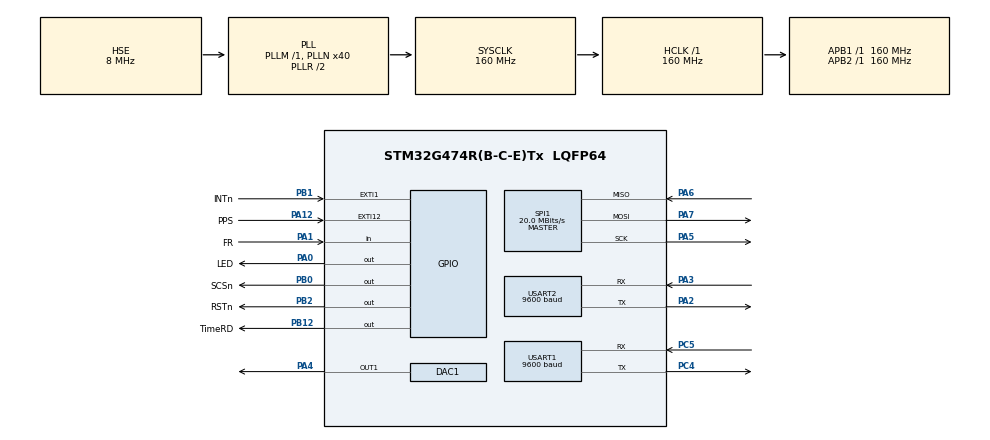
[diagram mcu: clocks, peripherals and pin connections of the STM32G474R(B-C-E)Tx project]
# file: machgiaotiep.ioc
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DAC1.DAC_Trigger_OUT1-DAC_OUT1=DAC_TRIGGER_T2_TRGO
Dma.DAC1_CH1.0.Direction=DMA_MEMORY_TO_PERIPH
Dma.DAC1_CH1.0.EventEnable=DISABLE
Dma.DAC1_CH1.0.Instance=DMA1_Channel1
Dma.DAC1_CH1.0.MemDataAlignment=DMA_MDATAALIGN_WORD
Dma.DAC1_CH1.0.MemInc=DMA_MINC_ENABLE
Dma.DAC1_CH1.0.Mode=DMA_CIRCULAR
Dma.DAC1_CH1.0.PeriphDataAlignment=DMA_PDATAALIGN_WORD
Dma.DAC1_CH1.0.PeriphInc=DMA_PINC_DISABLE
Dma.DAC1_CH1.0.Polarity=HAL_DMAMUX_REQ_GEN_RISING
Dma.DAC1_CH1.0.Priority=DMA_PRIORITY_LOW
Dma.DAC1_CH1.0.RequestNumber=1
Dma.DAC1_CH1.0.SignalID=NONE
Dma.DAC1_CH1.0.SyncEnable=DISABLE
Dma.DAC1_CH1.0.SyncPolarity=HAL_DMAMUX_SYNC_NO_EVENT
Dma.DAC1_CH1.0.SyncRequestNumber=1
Dma.DAC1_CH1.0.SyncSignalID=NONE
Dma.Request0=DAC1_CH1
IWDG.Prescaler=IWDG_PRESCALER_64
Mcu.Family=STM32G4
Mcu.Name=STM32G474R(B-C-E)Tx
Mcu.Package=LQFP64
NVIC.DMA1_Channel1_IRQn=true\:0\:0\:false\:false\:true\:false\:true\:true
NVIC.EXTI15_10_IRQn=true\:0\:0\:false\:false\:true\:true\:true\:true
NVIC.EXTI1_IRQn=true\:0\:0\:false\:false\:true\:true\:true\:true
NVIC.PriorityGroup=NVIC_PRIORITYGROUP_4
NVIC.TIM3_IRQn=true\:0\:0\:false\:false\:true\:true\:true\:true
NVIC.TIM4_IRQn=true\:0\:0\:false\:false\:true\:true\:true\:true
NVIC.USART1_IRQn=true\:0\:0\:false\:false\:true\:true\:true\:true
NVIC.USART2_IRQn=true\:0\:0\:false\:false\:true\:true\:true\:true
PA0.GPIO_Label=LED
PA0.Signal=GPIO_Output
PA1.GPIO_Label=FR
PA1.Signal=GPIO_Input
PA12.GPIO_Label=PPS
PA12.GPIO_ModeDefaultEXTI=GPIO_MODE_IT_FALLING
PA12.GPIO_PuPd=GPIO_PULLUP
PA12.Signal=GPXTI12
PA2.Mode=Asynchronous
PA2.Signal=USART2_TX
PA3.Mode=Asynchronous
PA3.Signal=USART2_RX
PA4.Signal=COMP_DAC11_group
PA5.Mode=Full_Duplex_Master
PA5.Signal=SPI1_SCK
PA6.Mode=Full_Duplex_Master
PA6.Signal=SPI1_MISO
PA7.Mode=Full_Duplex_Master
PA7.Signal=SPI1_MOSI
PB0.GPIO_Label=SCSn
PB0.Signal=GPIO_Output
PB1.GPIO_Label=INTn
PB1.GPIO_ModeDefaultEXTI=GPIO_MODE_IT_FALLING
PB1.GPIO_PuPd=GPIO_PULLUP
PB1.Signal=GPXTI1
PB12.GPIO_Label=TimeRD
PB12.Signal=GPIO_Output
PB2.GPIO_Label=RSTn
PB2.Signal=GPIO_Output
PC4.Mode=Asynchronous
PC4.Signal=USART1_TX
PC5.Mode=Asynchronous
PC5.Signal=USART1_RX
PF0-OSC_IN.Mode=HSE-External-Oscillator
PF0-OSC_IN.Signal=RCC_OSC_IN
PF1-OSC_OUT.Mode=HSE-External-Oscillator
PF1-OSC_OUT.Signal=RCC_OSC_OUT
ProjectManager.HeapSize=0x200
ProjectManager.StackSize=0x400
ProjectManager.TargetToolchain=MDK-ARM V5
RCC.ADC12Freq_Value=160000000
RCC.ADC345Freq_Value=160000000
RCC.AHBFreq_Value=160000000
RCC.APB1Freq_Value=160000000
RCC.APB1TimFreq_Value=160000000
RCC.APB2Freq_Value=160000000
RCC.APB2TimFreq_Value=160000000
RCC.CortexFreq_Value=160000000
RCC.EXTERNAL_CLOCK_VALUE=12288000
RCC.HCLKFreq_Value=160000000
RCC.HSE_VALUE=8000000
RCC.HSI48_VALUE=48000000
RCC.HSI_VALUE=16000000
RCC.LSE_VALUE=32768
RCC.PLLN=40
RCC.PLLSourceVirtual=RCC_PLLSOURCE_HSE
RCC.SYSCLKFreq_VALUE=160000000
RCC.SYSCLKSource=RCC_SYSCLKSOURCE_PLLCLK
RCC.USBFreq_Value=160000000
RCC.VCOOutputFreq_Value=320000000
SH.COMP_DAC11_group.0=DAC1_OUT1,DAC_OUT1
SPI1.BaudRatePrescaler=SPI_BAUDRATEPRESCALER_8
SPI1.CLKPhase=SPI_PHASE_2EDGE
SPI1.CLKPolarity=SPI_POLARITY_HIGH
SPI1.CalculateBaudRate=20.0 MBits/s
SPI1.DataSize=SPI_DATASIZE_8BIT
SPI1.Direction=SPI_DIRECTION_2LINES
SPI1.Mode=SPI_MODE_MASTER
SPI1.VirtualType=VM_MASTER
TIM2.PeriodNoDither=1249
TIM2.TIM_MasterOutputTrigger=TIM_TRGO_UPDATE
TIM3.AutoReloadPreload=TIM_AUTORELOAD_PRELOAD_DISABLE
TIM3.PeriodNoDither=1000-1
TIM3.Prescaler=160-1
TIM4.AutoReloadPreload=TIM_AUTORELOAD_PRELOAD_DISABLE
TIM4.PeriodNoDither=9999
TIM4.Prescaler=16000-1
USART1.BaudRate=9600
USART1.VirtualMode-Asynchronous=VM_ASYNC
USART2.BaudRate=9600
USART2.VirtualMode-Asynchronous=VM_ASYNC
VP_IWDG_VS_IWDG.Mode=IWDG_Activate
VP_SYS_VS_DBSignals.Mode=DisableDeadBatterySignals
VP_TIM2_VS_ClockSourceINT.Mode=Internal
VP_TIM3_VS_ClockSourceINT.Mode=Internal
VP_TIM4_VS_ClockSourceINT.Mode=Internal
board=custom

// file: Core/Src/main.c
/* USER CODE BEGIN Header */
/**
  ******************************************************************************
  * @file           : main.c
  * @brief          : Main program body
  ******************************************************************************
  * @attention
  *
  * Copyright (c) 2022 STMicroelectronics.
  * All rights reserved.
  *
  * This software is licensed under terms that can be found in the LICENSE file
  * in the root directory of this software component.
  * If no LICENSE file comes with this software, it is provided AS-IS.
  *
  ******************************************************************************
  */
/* USER CODE END Header */
#include "main.h"

/* USER CODE BEGIN Includes */
#include <stdint.h>
#include <string.h>
#include <time.h>
#include "stdio.h"

#include "wizchip_conf.h"
//#include "irigb.h"

#include "httpServer.h"
#include "snmp.h"
#include "connector.h"
/* USER CODE END Includes */

/* USER CODE BEGIN PTD */

const time_t built_time = 1669778893;
time_t timenow;
struct tm* timeinfo;
extern uint32_t real_delay;
/* USER CODE END PTD */

/* USER CODE BEGIN PM */
uint8_t IRIGB_GAIN;
uint32_t _Bit0_real[1280];
uint32_t _BitREF_real[1280];
uint32_t _Bit1_real[1280];
extern unsigned char irigb_code[];
extern uint32_t _Bit0[];
extern uint32_t _Bit1[];
extern uint32_t _BitREF[];
extern int8_t codecounter;
/* end of irigb variables -------------------------------------------------------------*/
void irigb_init(void)
{
	//1280
	uint32_t i;
	if(IRIGB_GAIN > 10) IRIGB_GAIN = 10;
	if(IRIGB_GAIN < 1) IRIGB_GAIN = 1;

	for(i =0; i<1280; i++)
	{
		_Bit0_real[i] = (_Bit0[i]*IRIGB_GAIN)/10;
		_Bit1_real[i] = (_Bit1[i]*IRIGB_GAIN)/10;
		_BitREF_real[i] = (_BitREF[i]*IRIGB_GAIN)/10;
	}
}
extern time_t unixTime_last_sync;

uint32_t	_loop1=0;
wiz_NetInfo myipWIZNETINFO = { .mac = {0x00, 0x08, 0xDC,0x55, 0x01, 0x01},
															 .ip = {192, 168,1, 39},
															 .sn = {255,255,255,0},
															 .gw = {0, 0, 0, 0},
															 .dns = {8,8,8,8},
															 .dhcp = NETINFO_STATIC };

uint8_t days = 0;
uint8_t months = 0;
uint8_t years = 0;
uint8_t hours = 0;
uint8_t minutes = 0;
uint8_t seconds = 0;
struct tm currtime;

//UART
/* Buffer used for reception */
uint8_t aRxBuffer[RXBUFFERSIZE];
uint8_t Rx1Buffer[RX1BUFFERSIZE];
//volatile uint32_t snmp_tick_1ms = 0;
/* USER CODE END PM */

DAC_HandleTypeDef hdac1;
DMA_HandleTypeDef hdma_dac1_ch1;

IWDG_HandleTypeDef hiwdg;

SPI_HandleTypeDef hspi1;

TIM_HandleTypeDef htim2;
TIM_HandleTypeDef htim3;
TIM_HandleTypeDef htim4;

UART_HandleTypeDef huart1;
UART_HandleTypeDef huart2;

void SystemClock_Config(void);
static void MX_GPIO_Init(void);
static void MX_DMA_Init(void);
static void MX_DAC1_Init(void);
static void MX_SPI1_Init(void);
static void MX_TIM2_Init(void);
static void MX_TIM3_Init(void);
static void MX_TIM4_Init(void);
static void MX_USART1_UART_Init(void);
static void MX_USART2_UART_Init(void);
static void MX_IWDG_Init(void);

/* USER CODE BEGIN 0 */

//void w5500_lib_init(void);
//void ntpserverdefaultconfig(void);
//void INT_NTP(void);
//int32_t NTPUDP(void);

//void main_message_handle(void);
//void u1_message_handle(void);
//void build_irigB_code(void);

/* USER CODE END 0 */

int main(void)
{
  /* USER CODE BEGIN 1 */
  int32_t ret = 0;

	char msg[100];
  /* USER CODE END 1 */

  /* MCU Configuration--------------------------------------------------------*/

  /* Reset of all peripherals, Initializes the Flash interface and the Systick. */
  HAL_Init();

  /* Configure the system clock */
  SystemClock_Config();

  /* Initialize all configured peripherals */
  MX_GPIO_Init();
  MX_DMA_Init();
  MX_DAC1_Init();
  MX_SPI1_Init();
  MX_TIM2_Init();
  MX_TIM3_Init();
  MX_TIM4_Init();
  MX_USART1_UART_Init();
  MX_USART2_UART_Init();
  MX_IWDG_Init();
  /* USER CODE BEGIN 2 */
  //printf("This code gen by STMcube; STM32G474RBT6@160MHz\r\n");
	timenow = built_time ;
	stm32g474_FactoryLoad();

	irigb_init();

//	HAL_GPIO_WritePin(TimeRD_GPIO_Port, TimeRD_Pin, GPIO_PIN_SET);
//	HAL_UART_Transmit(&huart1, (uint8_t *)"UART1 TX ok\r\n", 13, 100);
//	sprintf(msg,"IP %d.%d.%d.%d\r\n",myipWIZNETINFO.ip[0],myipWIZNETINFO.ip[1],myipWIZNETINFO.ip[2],myipWIZNETINFO.ip[3]);
//	HAL_UART_Transmit(&huart1, (uint8_t *)msg, 20, 100);
//	HAL_GPIO_WritePin(TimeRD_GPIO_Port, TimeRD_Pin, GPIO_PIN_RESET);

	HAL_TIM_Base_Start_IT(&htim3);
	HAL_TIM_Base_Start_IT(&htim4);
  /* USER CODE END 2 */

  /* Infinite loop */
  /* USER CODE BEGIN WHILE */

	//printf("Run\r\n");
	unixTime_last_sync = timenow;
	timeinfo = localtime( &timenow );
	//printf("Current local time and date: %s\r\n", asctime(timeinfo));

	//printf("HH-MM-SS :%d-%d-%d\r\n",timeinfo->tm_hour,timeinfo->tm_min,timeinfo->tm_sec);
	//printf("DD-MM-YY :%d-%d-%d\r\n",timeinfo->tm_mday,1+timeinfo->tm_mon,timeinfo->tm_year-100);
	resetirigbcode();
	codecounter = 0;
	days 		= timeinfo->tm_mday;
  months 	= timeinfo->tm_mon +1;
  years 	= timeinfo->tm_year-100;
  hours 	= timeinfo->tm_hour;
  minutes = timeinfo->tm_min;
  seconds = timeinfo->tm_sec;

  build_irigB_code();

	w5500_lib_init();
	ntpserverdefaultconfig();
	/* SNMP(Simple Network Management Protocol) Agent Initialize */
	// NMS (SNMP manager) IP address
	//snmpd_init(SNMPmanagerIP,SNMPagentIP,SOCK_agent,SOCK_trap);
	snmp_init();
	loadwebpages();

	HAL_UART_Abort(&huart2);
  if (HAL_UART_Receive_IT(&huart2, (uint8_t *)aRxBuffer, RXBUFFERSIZE) != HAL_OK)
  {
    /* Transfer error in reception process */
    Error_Handler();
  }
//	HAL_UART_Abort(&huart1);
//  if (HAL_UART_Receive_IT(&huart1, (uint8_t *)Rx1Buffer, RX1BUFFERSIZE) != HAL_OK)
//  {
//    /* Transfer error in reception process */
//    Error_Handler();
//  }
	//irigB start
	HAL_DAC_Start(&hdac1, DAC_CHANNEL_1);
	HAL_DAC_Start_DMA(&hdac1, DAC_CHANNEL_1, (uint32_t*)_Bit0, 1280, DAC_ALIGN_12B_R);
	HAL_TIM_Base_Start(&htim2);

  while (1)
  {

    /* USER CODE END WHILE */

    /* USER CODE BEGIN 3 */
		HAL_IWDG_Refresh(&hiwdg);
		machGiaoTiep();

  }
  /* USER CODE END 3 */
}

void SystemClock_Config(void)
{
  RCC_OscInitTypeDef RCC_OscInitStruct = {0};
  RCC_ClkInitTypeDef RCC_ClkInitStruct = {0};

  /** Configure the main internal regulator output voltage
  */
  HAL_PWREx_ControlVoltageScaling(PWR_REGULATOR_VOLTAGE_SCALE1_BOOST);

  /** Initializes the RCC Oscillators according to the specified parameters
  * in the RCC_OscInitTypeDef structure.
  */
  RCC_OscInitStruct.OscillatorType = RCC_OSCILLATORTYPE_LSI|RCC_OSCILLATORTYPE_HSE;
  RCC_OscInitStruct.HSEState = RCC_HSE_ON;
  RCC_OscInitStruct.LSIState = RCC_LSI_ON;
  RCC_OscInitStruct.PLL.PLLState = RCC_PLL_ON;
  RCC_OscInitStruct.PLL.PLLSource = RCC_PLLSOURCE_HSE;
  RCC_OscInitStruct.PLL.PLLM = RCC_PLLM_DIV1;
  RCC_OscInitStruct.PLL.PLLN = 40;
  RCC_OscInitStruct.PLL.PLLP = RCC_PLLP_DIV2;
  RCC_OscInitStruct.PLL.PLLQ = RCC_PLLQ_DIV2;
  RCC_OscInitStruct.PLL.PLLR = RCC_PLLR_DIV2;
  if (HAL_RCC_OscConfig(&RCC_OscInitStruct) != HAL_OK)
  {
    Error_Handler();
  }

  /** Initializes the CPU, AHB and APB buses clocks
  */
  RCC_ClkInitStruct.ClockType = RCC_CLOCKTYPE_HCLK|RCC_CLOCKTYPE_SYSCLK
                              |RCC_CLOCKTYPE_PCLK1|RCC_CLOCKTYPE_PCLK2;
  RCC_ClkInitStruct.SYSCLKSource = RCC_SYSCLKSOURCE_PLLCLK;
  RCC_ClkInitStruct.AHBCLKDivider = RCC_SYSCLK_DIV1;
  RCC_ClkInitStruct.APB1CLKDivider = RCC_HCLK_DIV1;
  RCC_ClkInitStruct.APB2CLKDivider = RCC_HCLK_DIV1;

  if (HAL_RCC_ClockConfig(&RCC_ClkInitStruct, FLASH_LATENCY_4) != HAL_OK)
  {
    Error_Handler();
  }
}

static void MX_DAC1_Init(void)
{

  DAC_ChannelConfTypeDef sConfig = {0};

  /** DAC Initialization
  */
  hdac1.Instance = DAC1;
  if (HAL_DAC_Init(&hdac1) != HAL_OK)
  {
    Error_Handler();
  }

  /** DAC channel OUT1 config
  */
  sConfig.DAC_HighFrequency = DAC_HIGH_FREQUENCY_INTERFACE_MODE_AUTOMATIC;
  sConfig.DAC_DMADoubleDataMode = DISABLE;
  sConfig.DAC_SignedFormat = DISABLE;
  sConfig.DAC_SampleAndHold = DAC_SAMPLEANDHOLD_DISABLE;
  sConfig.DAC_Trigger = DAC_TRIGGER_T2_TRGO;
  sConfig.DAC_Trigger2 = DAC_TRIGGER_NONE;
  sConfig.DAC_OutputBuffer = DAC_OUTPUTBUFFER_ENABLE;
  sConfig.DAC_ConnectOnChipPeripheral = DAC_CHIPCONNECT_EXTERNAL;
  sConfig.DAC_UserTrimming = DAC_TRIMMING_FACTORY;
  if (HAL_DAC_ConfigChannel(&hdac1, &sConfig, DAC_CHANNEL_1) != HAL_OK)
  {
    Error_Handler();
  }

}

static void MX_IWDG_Init(void)
{

  hiwdg.Instance = IWDG;
  hiwdg.Init.Prescaler = IWDG_PRESCALER_64;
  hiwdg.Init.Window = 4095;
  hiwdg.Init.Reload = 4095;
  if (HAL_IWDG_Init(&hiwdg) != HAL_OK)
  {
    Error_Handler();
  }

}

static void MX_SPI1_Init(void)
{

  /* SPI1 parameter configuration*/
  hspi1.Instance = SPI1;
  hspi1.Init.Mode = SPI_MODE_MASTER;
  hspi1.Init.Direction = SPI_DIRECTION_2LINES;
  hspi1.Init.DataSize = SPI_DATASIZE_8BIT;
  hspi1.Init.CLKPolarity = SPI_POLARITY_HIGH;
  hspi1.Init.CLKPhase = SPI_PHASE_2EDGE;
  hspi1.Init.NSS = SPI_NSS_SOFT;
  hspi1.Init.BaudRatePrescaler = SPI_BAUDRATEPRESCALER_8;
  hspi1.Init.FirstBit = SPI_FIRSTBIT_MSB;
  hspi1.Init.TIMode = SPI_TIMODE_DISABLE;
  hspi1.Init.CRCCalculation = SPI_CRCCALCULATION_DISABLE;
  hspi1.Init.CRCPolynomial = 7;
  hspi1.Init.CRCLength = SPI_CRC_LENGTH_DATASIZE;
  hspi1.Init.NSSPMode = SPI_NSS_PULSE_DISABLE;
  if (HAL_SPI_Init(&hspi1) != HAL_OK)
  {
    Error_Handler();
  }

}

static void MX_TIM2_Init(void)
{

  TIM_ClockConfigTypeDef sClockSourceConfig = {0};
  TIM_MasterConfigTypeDef sMasterConfig = {0};

  htim2.Instance = TIM2;
  htim2.Init.Prescaler = 0;
  htim2.Init.CounterMode = TIM_COUNTERMODE_UP;
  htim2.Init.Period = 1249;
  htim2.Init.ClockDivision = TIM_CLOCKDIVISION_DIV1;
  htim2.Init.AutoReloadPreload = TIM_AUTORELOAD_PRELOAD_DISABLE;
  if (HAL_TIM_Base_Init(&htim2) != HAL_OK)
  {
    Error_Handler();
  }
  sClockSourceConfig.ClockSource = TIM_CLOCKSOURCE_INTERNAL;
  if (HAL_TIM_ConfigClockSource(&htim2, &sClockSourceConfig) != HAL_OK)
  {
    Error_Handler();
  }
  sMasterConfig.MasterOutputTrigger = TIM_TRGO_UPDATE;
  sMasterConfig.MasterSlaveMode = TIM_MASTERSLAVEMODE_DISABLE;
  if (HAL_TIMEx_MasterConfigSynchronization(&htim2, &sMasterConfig) != HAL_OK)
  {
    Error_Handler();
  }

}

static void MX_TIM3_Init(void)
{

  TIM_ClockConfigTypeDef sClockSourceConfig = {0};
  TIM_MasterConfigTypeDef sMasterConfig = {0};

  /* USER CODE BEGIN TIM3_Init 1 */
  //1ms counter
  /* USER CODE END TIM3_Init 1 */
  htim3.Instance = TIM3;
  htim3.Init.Prescaler = 160-1;
  htim3.Init.CounterMode = TIM_COUNTERMODE_UP;
  htim3.Init.Period = 999+1;
  htim3.Init.ClockDivision = TIM_CLOCKDIVISION_DIV1;
  htim3.Init.AutoReloadPreload = TIM_AUTORELOAD_PRELOAD_DISABLE;
  if (HAL_TIM_Base_Init(&htim3) != HAL_OK)
  {
    Error_Handler();
  }
  sClockSourceConfig.ClockSource = TIM_CLOCKSOURCE_INTERNAL;
  if (HAL_TIM_ConfigClockSource(&htim3, &sClockSourceConfig) != HAL_OK)
  {
    Error_Handler();
  }
  sMasterConfig.MasterOutputTrigger = TIM_TRGO_RESET;
  sMasterConfig.MasterSlaveMode = TIM_MASTERSLAVEMODE_DISABLE;
  if (HAL_TIMEx_MasterConfigSynchronization(&htim3, &sMasterConfig) != HAL_OK)
  {
    Error_Handler();
  }

}

static void MX_TIM4_Init(void)
{

  TIM_ClockConfigTypeDef sClockSourceConfig = {0};
  TIM_MasterConfigTypeDef sMasterConfig = {0};

  /* USER CODE BEGIN TIM4_Init 1 */
	//	16/Aug/2019, Tuan, use Timer for make a couter 0-0.9999 second for NTP fraction
	//timer uptade frequency = TIM_CLK/(TIM_PSC+1)/(TIM_ARR + 1)
	//TIM_CLK/(TIM_Period + 1) /(Prescaler+1)
  /* USER CODE END TIM4_Init 1 */
  htim4.Instance = TIM4;
  htim4.Init.Prescaler = 16000-1;
  htim4.Init.CounterMode = TIM_COUNTERMODE_UP;
  htim4.Init.Period = 9999+1;
  htim4.Init.ClockDivision = TIM_CLOCKDIVISION_DIV1;
  htim4.Init.AutoReloadPreload = TIM_AUTORELOAD_PRELOAD_DISABLE;
  if (HAL_TIM_Base_Init(&htim4) != HAL_OK)
  {
    Error_Handler();
  }
  sClockSourceConfig.ClockSource = TIM_CLOCKSOURCE_INTERNAL;
  if (HAL_TIM_ConfigClockSource(&htim4, &sClockSourceConfig) != HAL_OK)
  {
    Error_Handler();
  }
  sMasterConfig.MasterOutputTrigger = TIM_TRGO_RESET;
  sMasterConfig.MasterSlaveMode = TIM_MASTERSLAVEMODE_DISABLE;
  if (HAL_TIMEx_MasterConfigSynchronization(&htim4, &sMasterConfig) != HAL_OK)
  {
    Error_Handler();
  }

}

static void MX_USART1_UART_Init(void)
{

  huart1.Instance = USART1;
  huart1.Init.BaudRate = 9600;
  huart1.Init.WordLength = UART_WORDLENGTH_8B;
  huart1.Init.StopBits = UART_STOPBITS_1;
  huart1.Init.Parity = UART_PARITY_NONE;
  huart1.Init.Mode = UART_MODE_TX_RX;
  huart1.Init.HwFlowCtl = UART_HWCONTROL_NONE;
  huart1.Init.OverSampling = UART_OVERSAMPLING_16;
  huart1.Init.OneBitSampling = UART_ONE_BIT_SAMPLE_DISABLE;
  huart1.Init.ClockPrescaler = UART_PRESCALER_DIV1;
  huart1.AdvancedInit.AdvFeatureInit = UART_ADVFEATURE_NO_INIT;
  if (HAL_UART_Init(&huart1) != HAL_OK)
  {
    Error_Handler();
  }
  if (HAL_UARTEx_SetTxFifoThreshold(&huart1, UART_TXFIFO_THRESHOLD_1_8) != HAL_OK)
  {
    Error_Handler();
  }
  if (HAL_UARTEx_SetRxFifoThreshold(&huart1, UART_RXFIFO_THRESHOLD_1_8) != HAL_OK)
  {
    Error_Handler();
  }
  if (HAL_UARTEx_DisableFifoMode(&huart1) != HAL_OK)
  {
    Error_Handler();
  }

}

static void MX_USART2_UART_Init(void)
{

  huart2.Instance = USART2;
  huart2.Init.BaudRate = 115200;
  huart2.Init.WordLength = UART_WORDLENGTH_8B;
  huart2.Init.StopBits = UART_STOPBITS_1;
  huart2.Init.Parity = UART_PARITY_NONE;
  huart2.Init.Mode = UART_MODE_TX_RX;
  huart2.Init.HwFlowCtl = UART_HWCONTROL_NONE;
  huart2.Init.OverSampling = UART_OVERSAMPLING_16;
  huart2.Init.OneBitSampling = UART_ONE_BIT_SAMPLE_DISABLE;
  huart2.Init.ClockPrescaler = UART_PRESCALER_DIV1;
  huart2.AdvancedInit.AdvFeatureInit = UART_ADVFEATURE_NO_INIT;
  if (HAL_UART_Init(&huart2) != HAL_OK)
  {
    Error_Handler();
  }
  if (HAL_UARTEx_SetTxFifoThreshold(&huart2, UART_TXFIFO_THRESHOLD_1_8) != HAL_OK)
  {
    Error_Handler();
  }
  if (HAL_UARTEx_SetRxFifoThreshold(&huart2, UART_RXFIFO_THRESHOLD_1_8) != HAL_OK)
  {
    Error_Handler();
  }
  if (HAL_UARTEx_DisableFifoMode(&huart2) != HAL_OK)
  {
    Error_Handler();
  }

}

static void MX_DMA_Init(void)
{

  /* DMA controller clock enable */
  __HAL_RCC_DMAMUX1_CLK_ENABLE();
  __HAL_RCC_DMA1_CLK_ENABLE();

  /* DMA interrupt init */
  /* DMA1_Channel1_IRQn interrupt configuration */
  HAL_NVIC_SetPriority(DMA1_Channel1_IRQn, 0, 0);
  HAL_NVIC_EnableIRQ(DMA1_Channel1_IRQn);

}

static void MX_GPIO_Init(void)
{
  GPIO_InitTypeDef GPIO_InitStruct = {0};

  /* GPIO Ports Clock Enable */
  __HAL_RCC_GPIOF_CLK_ENABLE();
  __HAL_RCC_GPIOA_CLK_ENABLE();
  __HAL_RCC_GPIOC_CLK_ENABLE();
  __HAL_RCC_GPIOB_CLK_ENABLE();

  /*Configure GPIO pin Output Level */
  HAL_GPIO_WritePin(LED_GPIO_Port, LED_Pin, GPIO_PIN_RESET);

  /*Configure GPIO pin Output Level */
  HAL_GPIO_WritePin(GPIOB, SCSn_Pin|RSTn_Pin|TimeRD_Pin, GPIO_PIN_RESET);

  /*Configure GPIO pin : LED_Pin */
  GPIO_InitStruct.Pin = LED_Pin;
  GPIO_InitStruct.Mode = GPIO_MODE_OUTPUT_PP;
  GPIO_InitStruct.Pull = GPIO_NOPULL;
  GPIO_InitStruct.Speed = GPIO_SPEED_FREQ_LOW;
  HAL_GPIO_Init(LED_GPIO_Port, &GPIO_InitStruct);

  /*Configure GPIO pin : FR_Pin */
  GPIO_InitStruct.Pin = FR_Pin;
  GPIO_InitStruct.Mode = GPIO_MODE_INPUT;
  GPIO_InitStruct.Pull = GPIO_PULLUP;
  HAL_GPIO_Init(FR_GPIO_Port, &GPIO_InitStruct);

  /*Configure GPIO pins : SCSn_Pin RSTn_Pin TimeRD_Pin */
  GPIO_InitStruct.Pin = SCSn_Pin|RSTn_Pin|TimeRD_Pin;
  GPIO_InitStruct.Mode = GPIO_MODE_OUTPUT_PP;
  GPIO_InitStruct.Pull = GPIO_NOPULL;
  GPIO_InitStruct.Speed = GPIO_SPEED_FREQ_LOW;
  HAL_GPIO_Init(GPIOB, &GPIO_InitStruct);

  /*Configure GPIO pin : INTn_Pin */
  GPIO_InitStruct.Pin = INTn_Pin;
  GPIO_InitStruct.Mode = GPIO_MODE_IT_FALLING;
  GPIO_InitStruct.Pull = GPIO_PULLUP;
  HAL_GPIO_Init(INTn_GPIO_Port, &GPIO_InitStruct);

  /*Configure GPIO pin : PPS_Pin */
  GPIO_InitStruct.Pin = PPS_Pin;
  GPIO_InitStruct.Mode = GPIO_MODE_IT_FALLING;
  GPIO_InitStruct.Pull = GPIO_PULLUP;
  HAL_GPIO_Init(PPS_GPIO_Port, &GPIO_InitStruct);

  /* EXTI interrupt init*/
  HAL_NVIC_SetPriority(EXTI1_IRQn, 0, 0);
  HAL_NVIC_EnableIRQ(EXTI1_IRQn);

  HAL_NVIC_SetPriority(EXTI15_10_IRQn, 0, 0);
  HAL_NVIC_EnableIRQ(EXTI15_10_IRQn);

}

/* USER CODE BEGIN 4 */

#ifdef __GNUC__
  /* With GCC/RAISONANCE, small printf (option LD Linker->Libraries->Small printf
     set to 'Yes') calls __io_putchar() */
  #define PUTCHAR_PROTOTYPE int __io_putchar(int ch)
#else
  #define PUTCHAR_PROTOTYPE int fputc(int ch, FILE *f)
#endif /* __GNUC__ */

/**
  * @brief  Retargets the C library printf function to the USART.
  * @param  None
  * @retval None
  */
PUTCHAR_PROTOTYPE
{
	/* Place your implementation of fputc here */
	/* e.g. write a character to the USART */
	HAL_UART_Transmit(&huart2, (uint8_t *)&ch, 1, 100);
	return ch;
}

void HAL_DAC_ConvCpltCallbackCh1(DAC_HandleTypeDef *hdac)
{
		//DAC se tao SIN tung bit0 bit1 bit REF theo bang irigb_code, quet xong 99 -> xong 1s thi quay lai 0 -> bat dau giay moi
		switch(irigb_code[codecounter])
		{
			case IRIGB_bit0:
				hdma_dac1_ch1.Instance->CMAR = (uint32_t)_Bit0_real;
				break;
			case IRIGB_bit1:
				hdma_dac1_ch1.Instance->CMAR = (uint32_t)_Bit1_real;
				break;
			case IRIGB_bitP:
				hdma_dac1_ch1.Instance->CMAR = (uint32_t)_BitREF_real;
				break;
		}
		codecounter++;
		if(codecounter == 99) codecounter = 0;

};

//khi nao buffer full thi no se goi ham nay
void HAL_UART_RxCpltCallback(UART_HandleTypeDef *UartHandle)
{

			if(UartHandle == &huart1)
			{
				//printf("U1 full\r\n");
				HAL_UART_Abort(&huart1);
				if (HAL_UART_Receive_IT(&huart1, (uint8_t *)aRxBuffer, RXBUFFERSIZE) != HAL_OK)
				{
					/* Transfer error in reception process */
					Error_Handler();
				}
			}
			if(UartHandle == &huart2)
			{
				//printf("U2 full\r\n");
				HAL_UART_Abort(&huart2);
				if (HAL_UART_Receive_IT(&huart2, (uint8_t *)aRxBuffer, RXBUFFERSIZE) != HAL_OK)
				{
					/* Transfer error in reception process */
					Error_Handler();
				}
			}

}

/* USER CODE END 4 */

void Error_Handler(void)
{
  __disable_irq();
  while (1)
  {
  }
}
